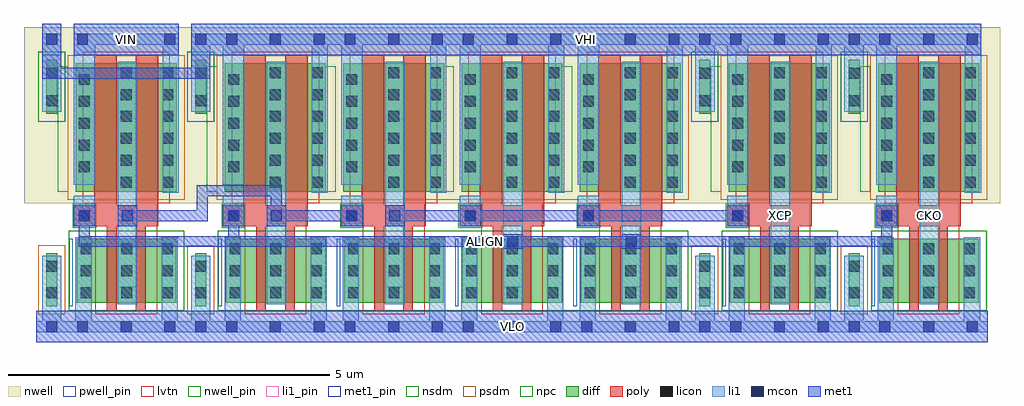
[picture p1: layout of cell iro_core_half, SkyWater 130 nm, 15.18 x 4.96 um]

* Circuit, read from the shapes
.subckt iro_core_half ALIGN CKO VHI VIN VLO XCP
XM1 lvtinv_4um_1um_7/A ALIGN VLO lvtinv_4um_1um_10/VNW sky130_fd_pr__nfet_01v8_lvt w=1 l=0.15 m=4
XM2 lvtinv_4um_1um_5/A lvtinv_4um_1um_7/A VLO lvtinv_4um_1um_10/VNW sky130_fd_pr__nfet_01v8_lvt w=1 l=0.15 m=2
XM3 ALIGN lvtinv_4um_1um_5/A VLO lvtinv_4um_1um_10/VNW sky130_fd_pr__nfet_01v8_lvt w=1 l=0.15 m=4
XM4 XCP lvtinv_4um_1um_5/A VLO lvtinv_4um_1um_10/VNW sky130_fd_pr__nfet_01v8_lvt w=1 l=0.15 m=2
XM5 CKO ALIGN VLO lvtinv_4um_1um_10/VNW sky130_fd_pr__nfet_01v8_lvt w=1 l=0.15 m=2
XM6 lvtinv_4um_1um_7/A ALIGN VIN lvtinv_4um_1um_10/VPW sky130_fd_pr__pfet_01v8_lvt w=2 l=0.35 m=2
XM7 lvtinv_4um_1um_7/A ALIGN VHI lvtinv_4um_1um_10/VPW sky130_fd_pr__pfet_01v8_lvt w=2 l=0.35 m=2
XM8 lvtinv_4um_1um_5/A lvtinv_4um_1um_7/A VHI lvtinv_4um_1um_10/VPW sky130_fd_pr__pfet_01v8_lvt w=2 l=0.35 m=2
XM9 ALIGN lvtinv_4um_1um_5/A VHI lvtinv_4um_1um_10/VPW sky130_fd_pr__pfet_01v8_lvt w=2 l=0.35 m=4
XM10 XCP lvtinv_4um_1um_5/A VHI lvtinv_4um_1um_10/VPW sky130_fd_pr__pfet_01v8_lvt w=2 l=0.35 m=2
XM11 CKO ALIGN VHI lvtinv_4um_1um_10/VPW sky130_fd_pr__pfet_01v8_lvt w=2 l=0.35 m=2
.ends

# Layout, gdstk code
import gdstk
lib = gdstk.Library(unit=1e-6, precision=1e-09)
def R(c, l, rs):  # rectangles x0, y0, x1, y1
    for r in rs: c.add(gdstk.rectangle(r[:2], r[2:], *l))
def A(c, l, x, y, w, h, nx, ny, dx, dy):  # array of equal rectangles
    R(c, l, [(x+i*dx, y+j*dy, x+i*dx+w, y+j*dy+h) for i in range(nx) for j in range(ny)])
nwell_pin = (64, 16)
nwell = (64, 20)
diff = (65, 20)
poly = (66, 20)
licon = (66, 44)
li1_pin = (67, 16)
li1 = (67, 20)
mcon = (67, 44)
met1_pin = (68, 16)
met1 = (68, 20)
nsdm = (93, 44)
psdm = (94, 20)
npc = (95, 20)
pwell_pin = (122, 16)
lvtn = (125, 44)

lvtbodytap = lib.new_cell('lvtbodytap')
R(lvtbodytap, nwell, [(2.86,0.655,3.72,3.395)])
R(lvtbodytap, diff, [(3.205,-0.945,3.375,-0.12), (3.205,2.045,3.375,2.885)])
R(lvtbodytap, licon, [(3.205,-0.825,3.375,-0.655), (3.205,-0.41,3.375,-0.24), (3.205,2.165,3.375,2.335), (3.205,2.595,3.375,2.765)])
R(lvtbodytap, li1, [(3.05,-1.35,3.53,-1.18), (3.14,-1.18,3.44,-0.16), (3.14,2.08,3.44,3.29)])
R(lvtbodytap, mcon, [(3.205,-1.35,3.375,-1.18), (3.205,3.12,3.375,3.29)])
R(lvtbodytap, met1_pin, [(3.05,-1.51,3.53,-1.02), (3.14,2.96,3.44,3.45)])
R(lvtbodytap, met1, [(3.05,-1.51,3.53,-1.02), (3.14,2.96,3.44,3.45)])
R(lvtbodytap, nsdm, [(3.08,1.92,3.5,3.01)])
R(lvtbodytap, psdm, [(3.08,-1.07,3.5,0.005)])
lvtbodytap.add(gdstk.Label('VHI', (3.29,3.205), layer=68, texttype=5))
lvtbodytap.add(gdstk.Label('VLO', (3.29,-1.265), layer=68, texttype=5))

lvtinv_4um_1um = lib.new_cell('lvtinv_4um_1um')
R(lvtinv_4um_1um, nwell_pin, [(1.84,1.84,2,3.79)])
R(lvtinv_4um_1um, nwell, [(1.795,1.66,4.015,4.4)])
R(lvtinv_4um_1um, diff, [(2.135,0.11,3.685,1.11), (2.12,1.84,3.69,3.84)])
R(lvtinv_4um_1um, poly, [(2.605,-0.02,2.755,1.3), (3.055,-0.02,3.205,1.3), (2.09,1.3,3.405,1.63), (2.405,1.63,2.755,3.97), (3.055,1.63,3.405,3.97)])
A(lvtinv_4um_1um, licon, 2.195, 0.185, 0.17, 0.17, 3, 3, 0.63, 0.34)
A(lvtinv_4um_1um, licon, 2.82, 1.905, 0.17, 0.17, 1, 6, 0, 0.34)
A(lvtinv_4um_1um, licon, 3.47, 1.905, 0.17, 0.17, 1, 6, 0, 0.34)
A(lvtinv_4um_1um, licon, 2.17, 2.14, 0.17, 0.17, 1, 5, 0, 0.34)
R(lvtinv_4um_1um, licon, [(2.17,1.38,2.34,1.55)])
R(lvtinv_4um_1um, li1_pin, [(2.77,0.35,3.075,2.98), (2.09,1.3,2.42,1.78)])
R(lvtinv_4um_1um, li1, [(1.985,-0.345,3.825,-0.175), (2.115,-0.175,2.365,1.13), (3.455,-0.175,3.705,1.13), (2.77,0.09,3.075,3.86), (2.09,1.3,2.42,1.78), (3.47,1.82,3.72,4.125), (2.09,1.95,2.42,4.125), (2.09,4.125,3.72,4.295)])
A(lvtinv_4um_1um, mcon, 2.14, -0.345, 0.17, 0.17, 3, 2, 0.68, 4.47)
R(lvtinv_4um_1um, met1_pin, [(1.985,-0.505,3.825,-0.015), (2.09,3.965,3.72,4.455)])
R(lvtinv_4um_1um, met1, [(1.985,-0.505,3.825,-0.015), (2.09,3.965,3.72,4.455)])
R(lvtinv_4um_1um, nsdm, [(2.01,-0.015,3.81,1.235)])
R(lvtinv_4um_1um, psdm, [(1.995,1.715,3.815,3.965)])
R(lvtinv_4um_1um, npc, [(2.07,1.28,2.44,1.65)])
R(lvtinv_4um_1um, pwell_pin, [(2.02,0.06,2.07,1.11)])
R(lvtinv_4um_1um, lvtn, [(2.425,-0.07,3.385,1.66), (2.225,1.66,3.585,4.02)])
lvtinv_4um_1um.add(gdstk.Label('VHI', (2.905,4.21), layer=68, texttype=5))
lvtinv_4um_1um.add(gdstk.Label('VLO', (2.905,-0.26), layer=68, texttype=5))
lvtinv_4um_1um.add(gdstk.Label('Y', (2.922,1.665), layer=67, texttype=5))
lvtinv_4um_1um.add(gdstk.Label('A', (2.255,1.54), layer=67, texttype=5))
lvtinv_4um_1um.add(gdstk.Label('VPW', (1.92,2.815), layer=64, texttype=5))
lvtinv_4um_1um.add(gdstk.Label('VNW', (2.045,0.585), layer=64, texttype=59))

iro_core_half = lib.new_cell('iro_core_half')
R(iro_core_half, li1_pin, [(11.055,1.735,11.36,2.065), (13.375,1.735,13.68,2.065)])
R(iro_core_half, li1, [(6.96,1.415,7.13,1.585), (8.8,1.415,8.97,1.585), (3.215,1.735,3.52,2.065), (6.215,1.735,6.545,2.065), (8.055,1.735,8.385,2.065), (11.055,1.735,11.36,2.065), (13.375,1.735,13.68,2.065), (0.295,1.815,0.465,1.985), (0.96,1.815,1.13,1.985), (2.615,1.815,2.785,1.985), (4.455,1.815,4.625,1.985), (5.12,1.815,5.29,1.985), (10.455,1.815,10.625,1.985), (12.775,1.815,12.945,1.985), (2.04,4.56,14.325,4.73)])
A(iro_core_half, mcon, 8.135, 1.815, 0.17, 0.17, 3, 1, 2.32, 0)
R(iro_core_half, mcon, [(6.96,1.415,7.13,1.585), (8.8,1.415,8.97,1.585), (0.295,1.815,0.465,1.985), (0.96,1.815,1.13,1.985), (2.615,1.815,2.785,1.985), (3.28,1.815,3.45,1.985), (4.455,1.815,4.625,1.985), (5.12,1.815,5.29,1.985), (6.295,1.815,6.465,1.985)])
R(iro_core_half, met1_pin, [(-0.37,-0.07,14.43,0.42), (0.295,1.415,12.945,1.585), (0.215,4.4,1.845,4.89), (2.04,4.4,14.325,4.89)])
A(iro_core_half, met1, 4.375, 1.735, 0.33, 0.08, 3, 1, 1.84, 0)
R(iro_core_half, met1, [(-0.37,-0.07,14.43,0.42), (6.895,1.385,7.2,1.415), (8.735,1.385,9.04,1.415), (0.295,1.415,12.945,1.585), (0.295,1.585,0.465,1.735), (2.615,1.585,2.785,1.735), (6.895,1.585,7.2,1.615), (8.735,1.585,9.04,1.615), (12.775,1.585,12.945,1.735), (0.215,1.735,0.545,2.065), (0.895,1.735,1.2,1.815), (2.535,1.735,2.865,2.065), (3.215,1.735,3.52,1.815), (5.055,1.735,5.36,1.815), (10.375,1.735,10.705,1.815), (12.695,1.735,13.025,2.065), (0.895,1.815,2.295,1.985), (3.215,1.815,4.705,1.985), (5.055,1.815,10.705,1.985), (0.895,1.985,1.2,2.065), (2.125,1.985,2.295,2.205), (3.215,1.985,3.52,2.065), (4.375,1.985,4.705,2.065), (5.055,1.985,5.36,2.065), (6.215,1.985,10.705,1.99), (6.215,1.99,6.545,2.065), (8.055,1.99,8.385,2.065), (10.375,1.99,10.705,2.065), (3.28,2.065,3.45,2.205), (2.125,2.205,3.45,2.375), (-0.28,4.035,2.34,4.205), (-0.28,4.205,0.02,4.89), (2.04,4.205,2.34,4.4), (0.215,4.4,1.845,4.89), (2.04,4.4,14.325,4.89)])
A(iro_core_half, nsdm, 4.255, 0.42, 0.04, 1.25, 3, 1, 1.84, 0)
A(iro_core_half, psdm, 4.26, 2.15, 0.02, 2.25, 3, 1, 1.84, 0)
iro_core_half.add(gdstk.Reference(lvtbodytap, (9.06,1.44)))
iro_core_half.add(gdstk.Reference(lvtbodytap, (6.74,1.44)))
iro_core_half.add(gdstk.Reference(lvtbodytap, (-1.1,1.44)))
iro_core_half.add(gdstk.Reference(lvtbodytap, (-3.42,1.44)))
iro_core_half.add(gdstk.Reference(lvtinv_4um_1um, (10.605,0.435)))
iro_core_half.add(gdstk.Reference(lvtinv_4um_1um, (8.285,0.435)))
iro_core_half.add(gdstk.Reference(lvtinv_4um_1um, (5.965,0.435)))
iro_core_half.add(gdstk.Reference(lvtinv_4um_1um, (2.285,0.435)))
iro_core_half.add(gdstk.Reference(lvtinv_4um_1um, (4.125,0.435)))
iro_core_half.add(gdstk.Reference(lvtinv_4um_1um, (0.445,0.435)))
iro_core_half.add(gdstk.Reference(lvtinv_4um_1um, (-1.875,0.435)))
iro_core_half.add(gdstk.Label('CKO', (13.527,1.9), layer=67, texttype=5))
iro_core_half.add(gdstk.Label('XCP', (11.207,1.9), layer=67, texttype=5))
iro_core_half.add(gdstk.Label('ALIGN', (6.62,1.5), layer=68, texttype=5))
iro_core_half.add(gdstk.Label('VHI', (8.182,4.645), layer=68, texttype=5))
iro_core_half.add(gdstk.Label('VLO', (7.03,0.175), layer=68, texttype=5))
iro_core_half.add(gdstk.Label('VIN', (1.03,4.645), layer=68, texttype=5))

lib.write_gds('iro_core_half.gds')
